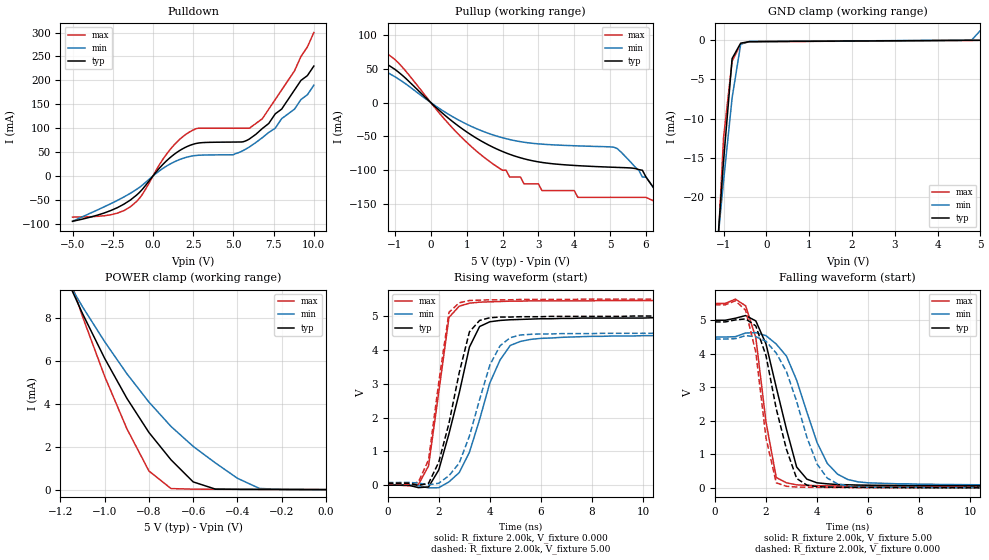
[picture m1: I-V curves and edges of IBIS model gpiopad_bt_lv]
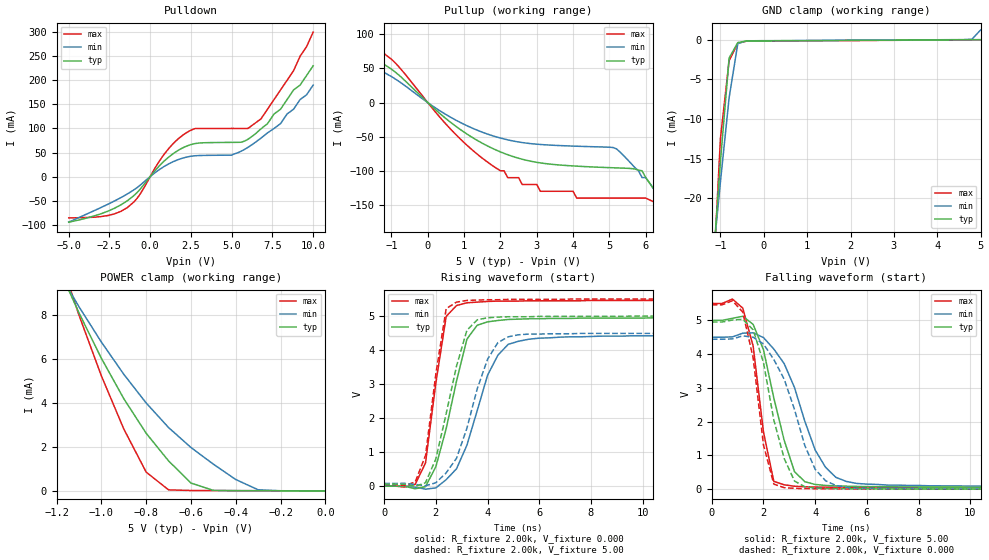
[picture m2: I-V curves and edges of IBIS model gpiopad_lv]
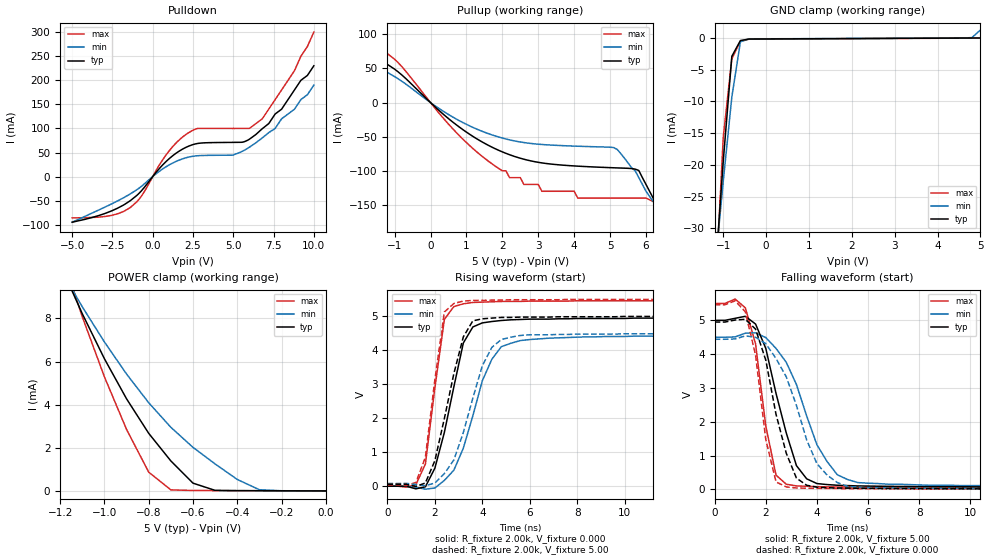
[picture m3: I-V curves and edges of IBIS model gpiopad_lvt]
| IBIS file m5605t00.ibs created by s2ibis2 version 1.1
| North Carolina State University Electronics Research Laboratory  1995
[IBIS ver]   2.1
[File name]   m5605t00.ibs
[File Rev]   1.2
[Date]   April 20, 2006
[Source]   Lars Snith
[Notes]   Property of Atmel Corporation
[Disclaimer] (C) Copyright ATMEL Norway 2006 Atmel Norway makes no warranty
                 for the use of its products, other than those explicitly
                 stated in the Company's standard warranty which is detailed in
                 Atmel's Terms and Conditions located on the Company's web
                 site. The Company assumes no responsibility for any errors
                 which may appear in this document. The user is granted this
                 license only to use the IBIS model and is not granted rights
                 to sell, load, rent, lease or license the IBIS model in whole
                 or in part, or in modified form to anyone other than user.
                 User may modify the IBIS model to suit its specific
                 applications but rights to derivative works and such
                 modifications shall belong to Atmel Norway. This IBIS model is
                 provided on an \"AS IS\" basis and Atmel Norway makes
                 absolutely no warranty with respect to the information
                 contained herein.
[Copyright]   Copyright (c) 2006 by ATMEL Norway
|   Component atmega2560_50_tqfp100
[Component]   atmega2560_50_tqfp100
[Manufacturer]   Atmel Corp.
[Package]
| variable   typ   min   max
R_pkg   19.00m   16.90m   21.20m
L_pkg   1.20nH   1.08nH   1.31nH
C_pkg   0.27pF   0.27pF   0.27pF
[Pin]  signal_name   model_name   R_pin   L_pin   C_pin
1   PG5   gpiopad_lv
| dg5  dg5   dummy
| eng5 eng5   dummy
2   PE0   gpiopad_lv
| de0  de0   dummy
| ene0 ene0   dummy
3   PE1   gpiopad_lv
| de1  de1   dummy
| ene1 ene1   dummy
4   PE2   gpiopad_lv
| de2  de2   dummy
| ene2 ene2   dummy
5   PE3   gpiopad_lv
| de3  de3   dummy
| ene3 ene3   dummy
6   PE4   gpiopad_lv
| de4  de4   dummy
| ene4 ene4   dummy
7   PE5   gpiopad_lv
| de5  de5   dummy
| ene5 ene5   dummy
8   PE6   gpiopad_lv
| de6  de6   dummy
| ene6 ene6   dummy
9   PE7   gpiopad_lv
| de7  de7   dummy
| ene7 ene7   dummy
10   VCC   POWER
11   GND   GND
12   PH0   gpiopad_lv
| dh0  dh0   dummy
| enh0 enh0   dummy
13   PH1   gpiopad_lv
| dh1  dh1   dummy
| enh1 enh1   dummy
14   PH2   gpiopad_lv
| dh2  dh2   dummy
| enh2 enh2   dummy
15   PH3   gpiopad_lv
| dh3  dh3   dummy
| enh3 enh3   dummy
16   PH4   gpiopad_lv
| dh4  dh4   dummy
| enh4 enh4   dummy
17   PH5   gpiopad_lv
| dh5  dh5   dummy
| enh5 enh5   dummy
18   PH6   gpiopad_lv
| dh6  dh6   dummy
| enh6 enh6   dummy
19   PB0   gpiopad_lv
| db0  db0   dummy
| enb0 enb0   dummy
20   PB1   gpiopad_lv
| db1  db1   dummy
| enb1 enb1   dummy
21   PB2   gpiopad_lv
| db2  db2   dummy
| enb2 enb2   dummy
22   PB3   gpiopad_lv
| db3  db3   dummy
| enb3 enb3   dummy
23   PB4   gpiopad_lv
| db4  db4   dummy
| enb4 enb4   dummy
24   PB5   gpiopad_lv
| db5  db5   dummy
| enb5 enb5   dummy
25   PB6   gpiopad_lv
| db6  db6   dummy
| enb6 enb6   dummy
26   PB7   gpiopad_lv
| db7  db7   dummy
| enb7 enb7   dummy
27   PH7   gpiopad_lv
| dh7  dh7   dummy
| enh7 enh7   dummy
28   PG3   gpiopad_lv
| dg3  dg3   dummy
| eng3 eng3   dummy
29   PG4   gpiopad_lv
| dg4  dg4   dummy
| eng4 eng4   dummy
30   RESET   gprstpad2
31   VCC   POWER
32   GND   GND
33   XTAL2   xtalpad_lv_ld_fullsw
| dx2  dx2   dummy
| enx2 enx2   dummy
34   XTAL1   xtalpad_lv_ld
| dx1  dx1   dummy
| enx1 enx1   dummy
35   PL0   gpiopad_lv
| dl0  dl0   dummy
| enl0 enl0   dummy
36   PL1   gpiopad_lv
| dl1  dl1   dummy
| enl1 enl1   dummy
37   PL2   gpiopad_lv
| dl2  dl2   dummy
| enl2 enl2   dummy
38   PL3   gpiopad_lv
| dl3  dl3   dummy
| enl3 enl3   dummy
39   PL4   gpiopad_lv
| dl4  dl4   dummy
| enl4 enl4   dummy
40   PL5   gpiopad_lv
| dl5  dl5   dummy
| enl5 enl5   dummy
41   PL6   gpiopad_lv
| dl6  dl6   dummy
| enl6 enl6   dummy
42   PL7   gpiopad_lv
| dl7  dl7   dummy
| enl7 enl7   dummy
43   PD0   gpiopad_lvt
| dd0  dd0   dummy
| end0 end0   dummy
44   PD1   gpiopad_lvt
| dd1  dd1   dummy
| end1 end1   dummy
45   PD2   gpiopad_lv
| dd2  dd2   dummy
| end2 end2   dummy
46   PD3   gpiopad_lv
| dd3  dd3   dummy
| end3 end3   dummy
47   PD4   gpiopad_lv
| dd4  dd4   dummy
| end4 end4   dummy
48   PD5   gpiopad_lv
| dd5  dd5   dummy
| end5 end5   dummy
49   PD6   gpiopad_lv
| dd6  dd6   dummy
| end6 end6   dummy
50   PD7   gpiopad_lv
| dd7  dd7   dummy
| end7 end7   dummy
51   PG0   gpiopad_lv
| dg0  dg0   dummy
| eng0 eng0   dummy
52   PG1   gpiopad_lv
| dg1  dg1   dummy
| eng1 eng1   dummy
53   PC0   gpiopad_lv
| dc0  dc0   dummy
| enc0 enc0   dummy
54   PC1   gpiopad_lv
| dc1  dc1   dummy
| enc1 enc1   dummy
55   PC2   gpiopad_lv
| dc2  dc2   dummy
| enc2 enc2   dummy
56   PC3   gpiopad_lv
| dc3  dc3   dummy
| enc3 enc3   dummy
57   PC4   gpiopad_lv
| dc4  dc4   dummy
| enc4 enc4   dummy
58   PC5   gpiopad_lv
| dc5  dc5   dummy
| enc5 enc5   dummy
59   PC6   gpiopad_lv
| dc6  dc6   dummy
| enc6 enc6   dummy
60   PC7   gpiopad_lv
| dc7  dc7   dummy
| enc7 enc7   dummy
61   VCC   POWER
62   GND   GND
63   PJ0   gpiopad_lv
| dj0  dj0   dummy
| enj0 enj0   dummy
64   PJ1   gpiopad_lv
| dj1  dj1   dummy
| enj1 enj1   dummy
65   PJ2   gpiopad_lv
| dj2  dj2   dummy
| enj2 enj2   dummy
66   PJ3   gpiopad_lv
| dj3  dj3   dummy
| enj3 enj3   dummy
67   PJ4   gpiopad_lv
| dj4  dj4   dummy
| enj4 enj4   dummy
68   PJ5   gpiopad_lv
| dj5  dj5   dummy
| enj5 enj5   dummy
69   PJ6   gpiopad_lv
| dj6  dj6   dummy
| enj6 enj6   dummy
70   PG2   gpiopad_lv
| dg2  dg2   dummy
| eng2 eng2   dummy
71   PA7   gpiopad_bt_lv
| da7  da7   dummy
| ena7 ena7   dummy
72   PA6   gpiopad_bt_lv
| da6  da6   dummy
| ena6 ena6   dummy
73   PA5   gpiopad_bt_lv
| da5  da5   dummy
| ena5 ena5   dummy
74   PA4   gpiopad_bt_lv
| da4  da4   dummy
| ena4 ena4   dummy
75   PA3   gpiopad_bt_lv
| da3  da3   dummy
| ena3 ena3   dummy
76   PA2   gpiopad_bt_lv
| da2  da2   dummy
| ena2 ena2   dummy
77   PA1   gpiopad_bt_lv
| da1  da1   dummy
| ena1 ena1   dummy
78   PA0   gpiopad_bt_lv
| da0  da0   dummy
| ena0 ena0   dummy
79   PJ7   gpiopad_lv
| dj7  dj7   dummy
| enj7 enj7   dummy
80   VCC   POWER
81   GND   GND
82   PK7   gpiopad_lv
| dk7  dk7   dummy
| enk7 enk7   dummy
83   PK6   gpiopad_lv
| dk6  dk6   dummy
| enk6 enk6   dummy
84   PK5   gpiopad_lv
| dk5  dk5   dummy
| enk5 enk5   dummy
85   PK4   gpiopad_lv
| dk4  dk4   dummy
| enk4 enk4   dummy
86   PK3   gpiopad_lv
| dk3  dk3   dummy
| enk3 enk3   dummy
87   PK2   gpiopad_lv
| dk2  dk2   dummy
| enk2 enk2   dummy
88   PK1   gpiopad_lv
| dk1  dk1   dummy
| enk1 enk1   dummy
89   PK0   gpiopad_lv
| dk0  dk0   dummy
| enk0 enk0   dummy
90   PF7   gpiopad_lv
| df7  df7   dummy
| enf7 enf7   dummy
91   PF6   gpiopad_lv
| df6  df6   dummy
| enf6 enf6   dummy
92   PF5   gpiopad_lv
| df5  df5   dummy
| enf5 enf5   dummy
93   PF4   gpiopad_lv
| df4  df4   dummy
| enf4 enf4   dummy
94   PF3   gpiopad_lv
| df3  df3   dummy
| enf3 enf3   dummy
95   PF2   gpiopad_lv
| df2  df2   dummy
| enf2 enf2   dummy
96   PF1   gpiopad_lv
| df1  df1   dummy
| enf1 enf1   dummy
97   PF0   gpiopad_lv
| df0  df0   dummy
| enf0 enf0   dummy
98   AREF   gpiopad_lv_ld
| darefdaref   dummy
| enarfenarf   dummy
99   GND   GND
100   AVCC   POWER
| Models and submodels in the file (7): gpiopad_bt_lv (I/O), gpiopad_lv (I/O), gpiopad_lvt (I/O), gpiopad_lv_ld (I/O), xtalpad_lv_ld (I/O), xtalpad_lv_ld_fullsw (I/O), gprstpad2 (Input)
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|   Model gpiopad_bt_lv
[Model]   gpiopad_bt_lv
Model_type   I/O
Polarity   Non-Inverting
Enable   Active-High
Vinl =   0.99V
Vinh =   2.31V
Vmeas =   1.65V
Cref =  50.00pF
C_comp   3.55pF   3.54pF   4.31pF
[Temperature Range]   27.00   0.12k   -55.00
[Voltage Range]   5.00V   4.50V   5.50V
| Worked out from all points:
|   slope of the pulldown table from 0 to 0.75 V, typ, clamps not added: 26.2 ohm
|   slope of the pullup table from 0 to 0.75 V, typ, clamps not added: 22.2 ohm
|   GND clamp passes 1 mA (typ) near -0.66 V on its own axis
|   POWER clamp passes 1 mA (typ) near -0.66 V on its own axis
|   rising waveform, R_fixture 2.00k, V_fixture 0.000: 20-80 % time 963ps typ, 1.17ns min, 597ps max; typ from 0 V to 4.95 V
|   rising waveform, R_fixture 2.00k, V_fixture 5.00: 20-80 % time 901ps typ, 1.09ns min, 597ps max; typ from 0.057 V to 5 V
|   falling waveform, R_fixture 2.00k, V_fixture 5.00: 20-80 % time 963ps typ, 1.27ns min, 589ps max; typ from 5 V to 0.058 V
|   falling waveform, R_fixture 2.00k, V_fixture 0.000: 20-80 % time 882ps typ, 1.17ns min, 621ps max; typ from 4.95 V to 0 V
[Pulldown]
| voltage   I(typ)   I(min)   I(max)
-5V       -94.6mA    -94.6mA    -85.8mA
-2.6V     -71.8mA    -57.4mA    -80.8mA
-1.4V     -50.06mA   -35.98mA   -64.21mA
-700mV    -29.29mA   -20.05mA   -40.24mA
1V        36.64mA    23.91mA    52.64mA
2.4V      65.41mA    41.72mA    94.55mA
5V        71.07mA    44.52mA    100mA
6V        77.61mA    61.01mA    100mA
6.8V      99.46mA    80.33mA    120mA
8V        140mA      120mA      180mA
8.8V      180mA      140mA      220mA
10V       230mA      190mA      300mA
[Pullup]
| voltage   I(typ)   I(min)   I(max)
-5V       99.3mA     100mA      110mA
-2.6V     88.74mA    77.56mA    110mA
-1.4V     62.89mA    50.2mA     79.87mA
1.2V      -50.22mA   -36.84mA   -68.26mA
2.2V      -76.41mA   -54.61mA   -110mA
3.1V      -88.42mA   -61.42mA   -130mA
5.2V      -95.77mA   -68.01mA   -140mA
5.9V      -100mA     -110mA     -140mA
6.4V      -140mA     -140mA     -150mA
6.8V      -180mA     -160mA     -190mA
7.2V      -210mA     -190mA     -240mA
10V       -470mA     -390mA     -580mA
[GND_clamp]
| voltage   I(typ)   I(min)   I(max)
-5V       -360mA     -280mA     -480mA
-1.2V     -30.63mA   -29.25mA   -33.84mA
-1V       -15.39mA   -17.97mA   -12.44mA
-800mV    -2.33mA    -7.35mA    -2.68mA
-600mV    -370uA     -510uA     -470uA
-400mV    -180uA     -160uA     -190uA
4.8V      -6.47uA    53.86uA    -22.91uA
5V        95.7pA     1.25mA     -16.36uA
[POWER_clamp]
| voltage   I(typ)   I(min)   I(max)
-5V       130mA      110mA      170mA
-1.2V     10.5mA     10.3mA     11.2mA
-1.1V     8.22mA     8.54mA     8.08mA
-1V       6.13mA     6.91mA     5.29mA
-900mV    4.27mA     5.42mA     2.85mA
-800mV    2.67mA     4.09mA     870uA
-700mV    1.39mA     2.95mA     47.96uA
-600mV    360uA      2.02mA     20.54uA
-500mV    24.9uA     1.25mA     16.38uA
-400mV    13.14uA    530uA      13.09uA
-300mV    9.71uA     53.86uA    9.82uA
0V        95.7pA     1.97nA     53.72pA
[Ramp]
| variable   typ   min   max
dV/dt_r   2.97/0.78n   2.66/1.13n   3.28/0.53n
dV/dt_f   2.97/0.79n   2.65/1.25n   3.27/0.52n
R_load = 2.00k
[Rising Waveform]
R_fixture = 2.00k
V_fixture = 0.000
V_fixture_min = 0.000
V_fixture_max = 0.000
| time   V(typ)   V(min)   V(max)
0s        0V         0V         0V
1.2ns     -72.55mV   -17.3mV    14.68mV
1.6ns     -52.88mV   -79.64mV   570mV
2.4ns     1.52V      97.27mV    4.96V
2.8ns     2.72V      370mV      5.29V
3.2ns     4.08V      970mV      5.38V
3.6ns     4.69V      1.94V      5.41V
4.4ns     4.87V      3.7V       5.43V
5.2ns     4.9V       4.25V      5.44V
20ns      4.95V      4.44V      5.46V
[Rising Waveform]
R_fixture = 2.00k
V_fixture = 5.00
V_fixture_min = 4.50
V_fixture_max = 5.50
| time   V(typ)   V(min)   V(max)
0s        57.27mV    78.6mV     43.63mV
1.2ns     -5.32mV    62.42mV    89.69mV
1.6ns     53.4mV     10.45mV    750mV
2.4ns     1.83V      280mV      5.11V
2.8ns     3.32V      650mV      5.39V
3.2ns     4.53V      1.45V      5.46V
3.6ns     4.87V      2.53V      5.47V
4ns       4.95V      3.55V      5.48V
4.8ns     4.97V      4.36V      5.48V
20ns      5V         4.5V       5.5V
[Falling Waveform]
R_fixture = 2.00k
V_fixture = 5.00
V_fixture_min = 4.50
V_fixture_max = 5.50
| time   V(typ)   V(min)   V(max)
0s        5V         4.5V       5.5V
1.2ns     5.14V      4.62V      5.43V
1.6ns     4.98V      4.63V      4.48V
2ns       4.29V      4.54V      1.96V
2.4ns     3V         4.29V      310mV
2.8ns     1.75V      3.93V      150mV
3.6ns     260mV      2.26V      73.12mV
4.4ns     120mV      730mV      60.67mV
5.2ns     91.96mV    250mV      54.29mV
20ns      57.54mV    79.34mV    43.74mV
[Falling Waveform]
R_fixture = 2.00k
V_fixture = 0.000
V_fixture_min = 0.000
V_fixture_max = 0.000
| time   V(typ)   V(min)   V(max)
0s        4.95V      4.44V      5.46V
800ps     5.01V      4.45V      5.58V
1.2ns     5.04V      4.54V      5.3V
1.6ns     4.83V      4.51V      4.04V
2ns       3.94V      4.37V      1.48V
2.4ns     2.36V      4.02V      150mV
3.2ns     280mV      2.58V      24.25mV
4ns       35.64mV    710mV      15.15mV
4.8ns     19.23mV    120mV      10.76mV
20ns      210uV      440uV      110uV
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|   Model gpiopad_lv
[Model]   gpiopad_lv
Model_type   I/O
Polarity   Non-Inverting
Enable   Active-High
Vinl =   0.99V
Vinh =   2.31V
Vmeas =   1.65V
Cref =  50.00pF
C_comp   3.55pF   3.54pF   4.31pF
[Temperature Range]   27.00   0.12k   -55.00
[Voltage Range]   5.00V   4.50V   5.50V
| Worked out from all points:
|   slope of the pulldown table from 0 to 0.75 V, typ, clamps not added: 26.2 ohm
|   slope of the pullup table from 0 to 0.75 V, typ, clamps not added: 22.2 ohm
|   GND clamp passes 1 mA (typ) near -0.66 V on its own axis
|   POWER clamp passes 1 mA (typ) near -0.66 V on its own axis
|   rising waveform, R_fixture 2.00k, V_fixture 0.000: 20-80 % time 933ps typ, 1.18ns min, 603ps max; typ from 0 V to 4.95 V
|   rising waveform, R_fixture 2.00k, V_fixture 5.00: 20-80 % time 909ps typ, 1.08ns min, 592ps max; typ from 0.057 V to 5 V
|   falling waveform, R_fixture 2.00k, V_fixture 5.00: 20-80 % time 941ps typ, 1.3ns min, 612ps max; typ from 5 V to 0.057 V
|   falling waveform, R_fixture 2.00k, V_fixture 0.000: 20-80 % time 859ps typ, 1.23ns min, 617ps max; typ from 4.95 V to 0 V
[Pulldown]
| voltage   I(typ)   I(min)   I(max)
-5V       -94.5mA    -94.6mA    -85.7mA
-2.6V     -71.8mA    -57.4mA    -80.8mA
-1.4V     -50.05mA   -35.97mA   -64.18mA
-700mV    -29.29mA   -20.05mA   -40.23mA
1V        36.64mA    23.9mA     52.64mA
2.4V      65.41mA    41.71mA    94.55mA
5V        71.07mA    44.52mA    100mA
6V        77.53mA    60.79mA    100mA
6.8V      99.22mA    79.96mA    120mA
8V        140mA      110mA      180mA
8.8V      180mA      140mA      220mA
10V       230mA      190mA      300mA
[Pullup]
| voltage   I(typ)   I(min)   I(max)
-5V       99.3mA     100mA      110mA
-2.6V     88.73mA    77.59mA    110mA
-1.4V     62.89mA    50.2mA     79.87mA
1.2V      -50.22mA   -36.84mA   -68.26mA
2.2V      -76.41mA   -54.61mA   -110mA
3.1V      -88.42mA   -61.42mA   -130mA
5.2V      -95.77mA   -67.99mA   -140mA
5.9V      -100mA     -110mA     -140mA
6.4V      -140mA     -140mA     -150mA
6.8V      -180mA     -160mA     -190mA
7.2V      -210mA     -190mA     -240mA
10V       -470mA     -390mA     -580mA
[GND_clamp]
| voltage   I(typ)   I(min)   I(max)
-5V       -360mA     -280mA     -480mA
-1.2V     -30.57mA   -29.16mA   -33.8mA
-1V       -15.37mA   -17.91mA   -12.43mA
-800mV    -2.32mA    -7.33mA    -2.67mA
-600mV    -370uA     -500uA     -460uA
-400mV    -170uA     -150uA     -190uA
4.8V      -6.32uA    51.74uA    -22.75uA
5V        87.06pA    1.22mA     -16.25uA
[POWER_clamp]
| voltage   I(typ)   I(min)   I(max)
-5V       130mA      110mA      170mA
-1.2V     10.39mA    10.14mA    11.12mA
-1.1V     8.12mA     8.4mA      8.02mA
-1V       6.05mA     6.79mA     5.25mA
-900mV    4.21mA     5.32mA     2.83mA
-800mV    2.63mA     4.01mA     860uA
-700mV    1.37mA     2.89mA     47.57uA
-600mV    360uA      1.98mA     20.4uA
-500mV    24.2uA     1.22mA     16.27uA
-400mV    12.83uA    520uA      13uA
-300mV    9.49uA     51.74uA    9.75uA
0V        87.06pA    1.96nA     44.26pA
[Ramp]
| variable   typ   min   max
dV/dt_r   2.97/0.74n   2.66/1.13n   3.28/0.53n
dV/dt_f   2.97/0.76n   2.65/1.25n   3.27/0.52n
R_load = 2.00k
[Rising Waveform]
R_fixture = 2.00k
V_fixture = 0.000
V_fixture_min = 0.000
V_fixture_max = 0.000
| time   V(typ)   V(min)   V(max)
0s        0V         0V         0V
1.2ns     -79.63mV   -32.33mV   51.3mV
1.6ns     -13.46mV   -89.85mV   680mV
2.4ns     1.69V      190mV      4.99V
2.8ns     3.09V      510mV      5.31V
3.2ns     4.32V      1.2V       5.39V
3.6ns     4.73V      2.22V      5.41V
4ns       4.83V      3.26V      5.43V
4.8ns     4.9V       4.17V      5.44V
20ns      4.95V      4.44V      5.46V
[Rising Waveform]
R_fixture = 2.00k
V_fixture = 5.00
V_fixture_min = 4.50
V_fixture_max = 5.50
| time   V(typ)   V(min)   V(max)
0s        57.27mV    78.6mV     43.63mV
1.2ns     -8.37mV    49.36mV    120mV
1.6ns     100mV      10.17mV    900mV
2.4ns     2.13V      390mV      5.22V
2.8ns     3.53V      820mV      5.41V
3.2ns     4.58V      1.7V       5.46V
3.6ns     4.89V      2.86V      5.47V
4ns       4.95V      3.73V      5.48V
4.8ns     4.98V      4.39V      5.49V
20ns      5V         4.5V       5.5V
[Falling Waveform]
R_fixture = 2.00k
V_fixture = 5.00
V_fixture_min = 4.50
V_fixture_max = 5.50
| time   V(typ)   V(min)   V(max)
0s        5V         4.5V       5.5V
800ps     5.06V      4.51V      5.63V
1.2ns     5.12V      4.62V      5.36V
1.6ns     4.88V      4.63V      4.24V
2ns       4.13V      4.49V      1.69V
2.4ns     2.7V       4.15V      230mV
3.2ns     520mV      3.01V      86.61mV
4ns       140mV      1.16V      63.08mV
5.2ns     88.1mV     230mV      52.14mV
20ns      57.3mV     79.02mV    43.64mV
[Falling Waveform]
R_fixture = 2.00k
V_fixture = 0.000
V_fixture_min = 0.000
V_fixture_max = 0.000
| time   V(typ)   V(min)   V(max)
0s        4.95V      4.44V      5.46V
800ps     5.01V      4.45V      5.58V
1.2ns     5.03V      4.54V      5.24V
1.6ns     4.72V      4.5V       3.89V
2ns       3.75V      4.3V       1.31V
2.4ns     2.05V      3.84V      150mV
3.2ns     240mV      2.36V      23.96mV
4ns       33.39mV    590mV      13.18mV
4.8ns     16.61mV    110mV      8.57mV
20ns      32.64uV    180uV      8.98uV
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|   Model gpiopad_lvt
[Model]   gpiopad_lvt
Model_type   I/O
Polarity   Non-Inverting
Enable   Active-High
Vinl =   0.99V
Vinh =   2.31V
Vmeas =   1.65V
Cref =  50.00pF
C_comp   3.75pF   3.75pF   4.47pF
[Temperature Range]   27.00   0.12k   -55.00
[Voltage Range]   5.00V   4.50V   5.50V
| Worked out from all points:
|   slope of the pulldown table from 0 to 0.75 V, typ, clamps not added: 26.2 ohm
|   slope of the pullup table from 0 to 0.75 V, typ, clamps not added: 22.2 ohm
|   GND clamp passes 1 mA (typ) near -0.65 V on its own axis
|   POWER clamp passes 1 mA (typ) near -0.66 V on its own axis
|   rising waveform, R_fixture 2.00k, V_fixture 0.000: 20-80 % time 946ps typ, 1.23ns min, 614ps max; typ from 0 V to 4.94 V
|   rising waveform, R_fixture 2.00k, V_fixture 5.00: 20-80 % time 962ps typ, 1.16ns min, 607ps max; typ from 0.057 V to 4.99 V
|   falling waveform, R_fixture 2.00k, V_fixture 5.00: 20-80 % time 1.01ns typ, 1.39ns min, 643ps max; typ from 5 V to 0.063 V
|   falling waveform, R_fixture 2.00k, V_fixture 0.000: 20-80 % time 902ps typ, 1.29ns min, 645ps max; typ from 4.95 V to 0.006 V
[Pulldown]
| voltage   I(typ)   I(min)   I(max)
-5V       -94.6mA    -94.6mA    -85.7mA
-2.6V     -71.8mA    -57.4mA    -80.8mA
-1.4V     -50.1mA    -35.99mA   -64.29mA
-700mV    -29.3mA    -20.05mA   -40.24mA
1V        36.64mA    23.9mA     52.64mA
2.4V      65.41mA    41.71mA    94.55mA
5V        71.07mA    44.52mA    100mA
6V        77.61mA    61.01mA    100mA
6.8V      99.46mA    80.34mA    120mA
8V        140mA      120mA      180mA
8.8V      180mA      140mA      220mA
10V       230mA      190mA      300mA
[Pullup]
| voltage   I(typ)   I(min)   I(max)
-5V       99.3mA     100mA      110mA
-2.6V     88.73mA    77.55mA    110mA
-1.4V     62.89mA    50.2mA     79.88mA
1.2V      -50.22mA   -36.84mA   -68.26mA
2.2V      -76.41mA   -54.61mA   -110mA
3V        -87.58mA   -61mA      -120mA
3.1V      -88.42mA   -61.42mA   -130mA
5.2V      -95.77mA   -68.75mA   -140mA
5.8V      -99.56mA   -110mA     -140mA
6.4V      -160mA     -160mA     -150mA
6.8V      -200mA     -190mA     -200mA
10V       -560mA     -470mA     -680mA
[GND_clamp]
| voltage   I(typ)   I(min)   I(max)
-5V       -450mA     -350mA     -600mA
-1.2V     -38.45mA   -36.74mA   -42.39mA
-1V       -19.41mA   -22.59mA   -15.65mA
-800mV    -2.89mA    -9.31mA    -3.26mA
-600mV    -410uA     -600uA     -520uA
-400mV    -170uA     -160uA     -190uA
4.8V      -6.32uA    54.44uA    -22.75uA
5V        110pA      1.25mA     -16.25uA
[POWER_clamp]
| voltage   I(typ)   I(min)   I(max)
-5V       130mA      110mA      170mA
-1.2V     10.51mA    10.3mA     11.2mA
-1.1V     8.22mA     8.54mA     8.08mA
-1V       6.13mA     6.91mA     5.29mA
-900mV    4.27mA     5.42mA     2.85mA
-800mV    2.67mA     4.09mA     870uA
-700mV    1.39mA     2.95mA     47.86uA
-600mV    360uA      2.02mA     20.4uA
-500mV    24.73uA    1.25mA     16.27uA
-400mV    12.84uA    530uA      13uA
-300mV    9.49uA     54.44uA    9.75uA
0V        110pA      2.37nA     66.11pA
[Ramp]
| variable   typ   min   max
dV/dt_r   2.97/0.76n   2.66/1.19n   3.27/0.55n
dV/dt_f   2.96/0.83n   2.65/1.36n   3.27/0.55n
R_load = 2.00k
[Rising Waveform]
R_fixture = 2.00k
V_fixture = 0.000
V_fixture_min = 0.000
V_fixture_max = 0.000
| time   V(typ)   V(min)   V(max)
0s        0V         0V         0V
1.2ns     -78.05mV   -31.04mV   44.95mV
1.6ns     -18.21mV   -87.52mV   650mV
2.4ns     1.58V      170mV      4.9V
2.8ns     2.92V      470mV      5.28V
3.2ns     4.21V      1.12V      5.36V
3.6ns     4.68V      2.07V      5.4V
4.4ns     4.84V      3.73V      5.42V
5.2ns     4.89V      4.2V       5.43V
20ns      4.94V      4.43V      5.45V
[Rising Waveform]
R_fixture = 2.00k
V_fixture = 5.00
V_fixture_min = 4.50
V_fixture_max = 5.50
| time   V(typ)   V(min)   V(max)
0s        57.27mV    78.6mV     43.63mV
1.2ns     -7.34mV    50.48mV    110mV
1.6ns     94.49mV    11.6mV     850mV
2.4ns     1.99V      370mV      5.12V
2.8ns     3.31V      770mV      5.37V
3.2ns     4.39V      1.58V      5.44V
3.6ns     4.86V      2.59V      5.46V
4ns       4.92V      3.54V      5.46V
4.8ns     4.96V      4.31V      5.47V
20ns      4.99V      4.49V      5.5V
[Falling Waveform]
R_fixture = 2.00k
V_fixture = 5.00
V_fixture_min = 4.50
V_fixture_max = 5.50
| time   V(typ)   V(min)   V(max)
0s        5V         4.5V       5.5V
1.2ns     5.12V      4.62V      5.37V
1.6ns     4.89V      4.63V      4.3V
2ns       4.17V      4.49V      1.87V
2.4ns     2.84V      4.17V      420mV
2.8ns     1.67V      3.76V      150mV
3.2ns     700mV      3.1V       100mV
4ns       170mV      1.32V      78.75mV
5.6ns     100mV      200mV      62.99mV
20ns      63.2mV     88.06mV    47.76mV
[Falling Waveform]
R_fixture = 2.00k
V_fixture = 0.000
V_fixture_min = 0.000
V_fixture_max = 0.000
| time   V(typ)   V(min)   V(max)
0s        4.95V      4.44V      5.46V
1.2ns     5.03V      4.54V      5.25V
1.6ns     4.74V      4.5V       3.97V
2ns       3.82V      4.31V      1.47V
2.4ns     2.22V      3.87V      220mV
2.8ns     1.07V      3.33V      70.26mV
3.2ns     330mV      2.48V      39.2mV
4ns       61.91mV    760mV      28.53mV
5.2ns     33.5mV     86.1mV     19.17mV
20ns      5.75mV     8.8mV      4.05mV
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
